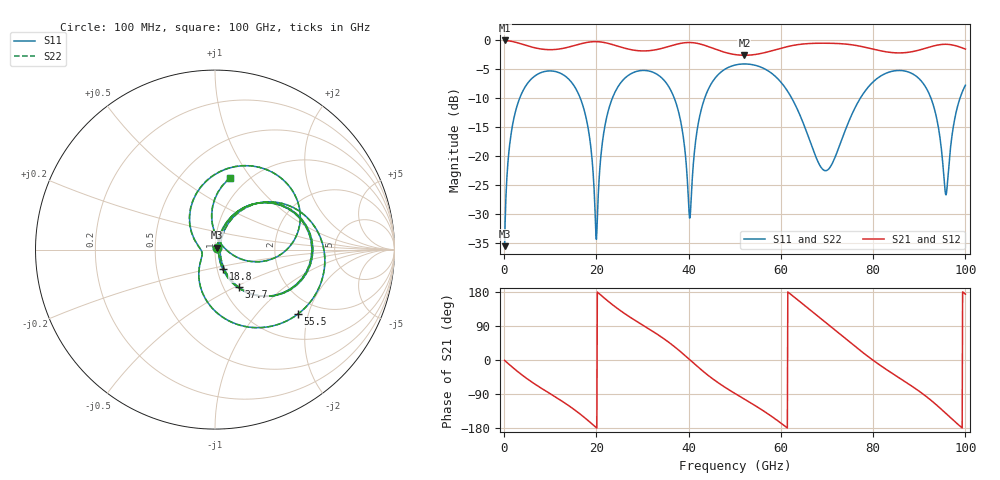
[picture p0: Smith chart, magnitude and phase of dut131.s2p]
! Touchstone file exported from HFSS 2026.1.0
!  File:  C:/ffzhzh/LocalFiles/Ansys_Project_Files/temp_train_TSV_RDL_131_1783460636_7600.aedt
!  Generated:  05:54:00 AM Jul  8, 2026
!  Design:  TSV_RDL
!  Project:  temp_train_TSV_RDL_131_1783460636_7600
! Variables:
!  h_bsmrdl = 3.03um
!  h_ox = 20um
!  h_rdl = 5um
!  h_sub = 53.35um
!  h_tmrdl = 4.73um
!  h_tsv = 53.35um
!  h_via = 3um
!  l_bsmrdl = 593.02um
!  l_sub = 3213.91um
!  l_tmrdl = 221.31um
!  m_sub = 200um
!  pitch = 57.24um
!  r_tsv = 13.31um
!  s_tmrdl = 10um
!  w_bsmrdl = 24.27um
!  w_sub = 500um
!  w_tmrdl = 25.6um
!  x_tsv_center1 = 234.11um
!  x_tsv_center2 = 851.4um
!  x_tsv_center3 = 1098.31um
!  x_tsv_center4 = 1715.6um
!  x_tsv_center5 = 1962.51um
!  x_tsv_center6 = 2579.8um
# GHz S MA R 50.000000
! Terminal data exported
! Port[1] = TM_RDL1_1_T1
! Port[2] = TM_RDL5_1_T1
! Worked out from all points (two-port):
!   1000 points, 100 MHz to 100 GHz, reference 50 ohm
!   highest |S21| = -0.11 dB at 100 MHz (marker M1); lowest = -2.7 dB at 52.1 GHz (marker M2)
!   |S21| within 3 dB of the highest: start of sweep to end of sweep
!   lowest |S11| = -35.6 dB at 100 MHz (marker M3), VSWR 1.03, Z = 51.2 + j1.14 ohm
!   |S11| at or under -10 dB: 16.47 GHz to 23.5 GHz (7.023 GHz wide, 35.1 % of centre); 36.86 GHz to 43.5 GHz (6.65 GHz wide, 16.5 % of centre); 62.31 GHz to 77.28 GHz (14.97 GHz wide, 21.4 % of centre) (the widest 3 of 5)
!   |S22| runs from -35.6 to -4.2 dB; largest |S21 - S12| = 1.5e-12
!   S11 on the Smith chart (normalised r, x): 100 MHz: 1.02, +0.02; 18.8 GHz: 1.06, -0.24; 37.7 GHz: 1.18, -0.53; 55.5 GHz: 1.57, -1.71; 100 GHz: 0.84, +0.79
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0.1  0.01657 42.1  0.9879 -1.1  0.9879 -1.1  0.01657 42.1
! Gamma 0 0 0 0
! Port Impedance 50 0 50 0
1.6  0.1632 67.2  0.9705 -17.1  0.9705 -17.1  0.1632 67.2
4.6  0.3953 41.2  0.8998 -46.1  0.8998 -46.1  0.3953 41.2
16.8  0.2918 -54.1  0.9285 -145.8  0.9285 -145.8  0.2918 -54.1
18.8  0.1178 -68.3  0.9605 -166.0  0.9605 -166.0  0.1178 -68.4
20  0.01899 5.3  0.9648 -178.7  0.9648 -178.7  0.01896 5.2
23.8  0.3378 49.3  0.9027 142.9  0.9027 142.9  0.3377 49.3
33.4  0.4967 -23.3  0.8296 66.3  0.8296 66.3  0.4967 -23.2
37.7  0.2488 -57.6  0.9224 27.5  0.9224 27.5  0.2488 -57.6
40.3  0.02915 10.4  0.9483 0.1  0.9483 0.1  0.02969 10.2
43.4  0.3076 52.0  0.8982 -32.5  0.8982 -32.5  0.3076 51.8
50.1  0.6064 0.1  0.7458 -88.8  0.7458 -88.8  0.6063 -0.0
52.1  0.6195 -13.8  0.7359 -103.3  0.7359 -103.3  0.6193 -13.9
55.5  0.5847 -38.0  0.7602 -128.6  0.7602 -128.6  0.5845 -38.1
61.8  0.3425 -89.9  0.881 176.6  0.881 176.6  0.3424 -90.0
66.7  0.1209 -134.7  0.9316 128.3  0.9316 128.3  0.1211 -134.5
70.3  0.07636 -175.9  0.9346 92.9  0.9346 92.9  0.07658 -175.2
76.2  0.2651 120.8  0.8959 34.7  0.8959 34.7  0.2652 121.1
83.4  0.5259 59.3  0.782 -29.4  0.782 -29.4  0.5259 59.4
91.8  0.3651 -4.5  0.8564 -99.0  0.8564 -99.0  0.3648 -4.5
95.8  0.04597 40.7  0.9156 -141.4  0.9156 -141.4  0.04525 41.2
100  0.4054 78.2  0.8323 173.9  0.8323 173.9  0.4056 78.4
